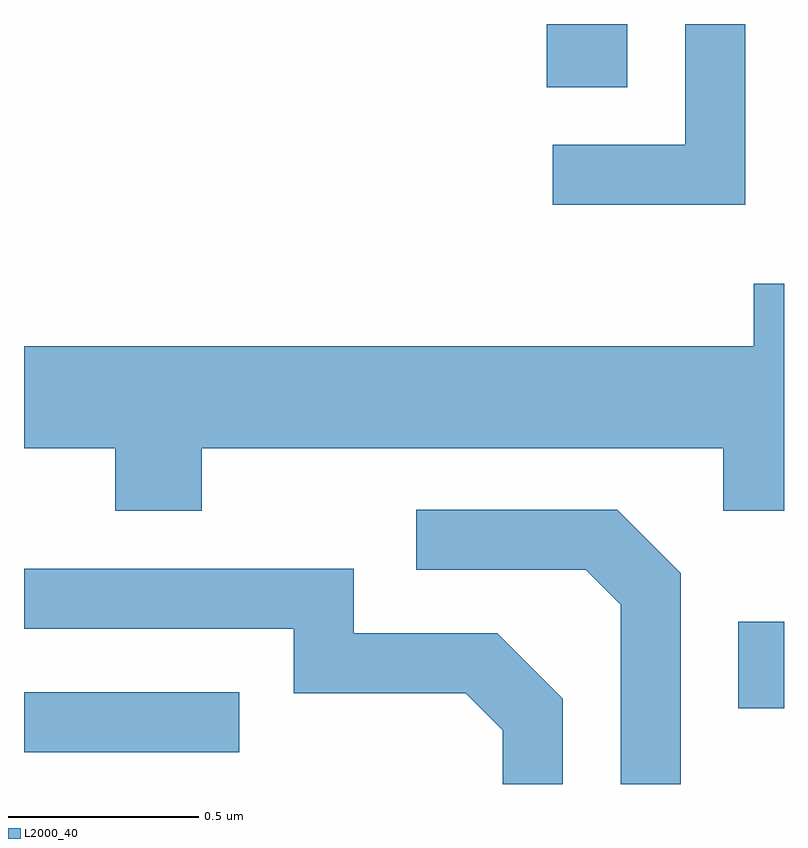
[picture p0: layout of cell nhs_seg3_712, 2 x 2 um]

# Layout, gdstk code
import gdstk
lib = gdstk.Library(unit=1e-6, precision=1e-09)
def R(c, l, rs):  # rectangles x0, y0, x1, y1
    for r in rs: c.add(gdstk.rectangle(r[:2], r[2:], *l))
def P(c, l, *ps):  # polygons
    for p in ps: c.add(gdstk.Polygon(p, *l))
L2000_40 = (2000, 40)

nhs_seg3_712 = lib.new_cell('nhs_seg3_712')
R(nhs_seg3_712, L2000_40, [(190.611,1142.976,191.178,1143.134), (192.491,1143.091,192.611,1143.319)])
P(nhs_seg3_712, L2000_40, [(192.509,1144.892),(192.351,1144.892),(192.351,1144.574),(192.003,1144.574),(192.003,1144.416),(192.509,1144.416)],
  [(192.199,1144.892),(191.616,1144.892),(191.616,1144.891),(191.986,1144.891),(191.986,1144.726),(192.199,1144.726)],
  [(191.079,1143.776),(192.451,1143.776),(192.451,1143.611),(192.611,1143.611),(192.611,1144.209),(192.531,1144.209),(192.531,1144.044),(190.611,1144.044),(190.611,1143.776),(190.851,1143.776),(190.851,1143.611),(191.079,1143.611)],
  [(192.339,1143.447),(192.172,1143.614),(191.643,1143.614),(191.643,1143.456),(192.089,1143.456),(192.181,1143.364),(192.181,1142.892),(192.339,1142.892)],
  [(192.029,1143.117),(191.857,1143.289),(191.479,1143.289),(191.479,1143.459),(190.611,1143.459),(190.611,1143.301),(191.321,1143.301),(191.321,1143.131),(191.774,1143.131),(191.871,1143.034),(191.871,1142.892),(192.029,1142.892)])

lib.write_gds('nhs_seg3_712.gds')
